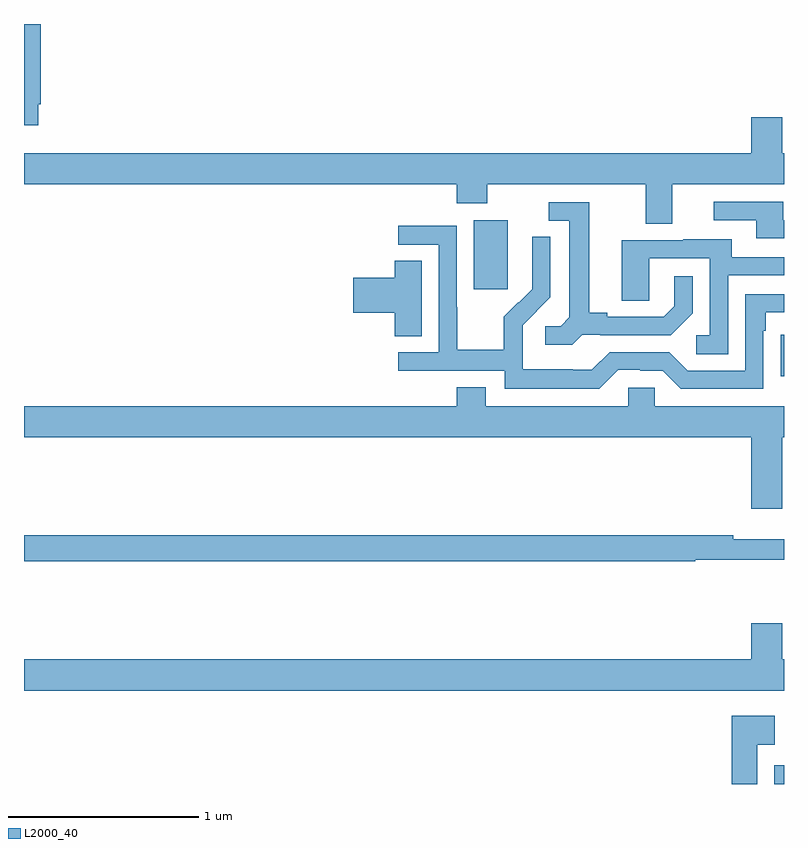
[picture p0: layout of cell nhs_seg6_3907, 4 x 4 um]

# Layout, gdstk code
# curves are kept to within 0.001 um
import gdstk
lib = gdstk.Library(unit=1e-6, precision=1e-09)
def R(c, l, rs):  # rectangles x0, y0, x1, y1
    for r in rs: c.add(gdstk.rectangle(r[:2], r[2:], *l))
def P(c, l, *ps):  # polygons
    for p in ps: c.add(gdstk.Polygon(p, *l))
L2000_40 = (2000, 40)

nhs_seg6_3907 = lib.new_cell('nhs_seg6_3907')
R(nhs_seg6_3907, L2000_40, [(344.948,957.5,345,957.598), (344.983,959.646,345,959.864), (343.367,960.105,343.546,960.466)])
P(nhs_seg6_3907, L2000_40, [(341.074,961.078),(341.087,961.078),(341.087,961.5),(341,961.5),(341,960.966),(341.074,960.966)],
  [(344.413,960.656),(345,960.656),(345,960.82),(344.992,960.82),(344.992,961.009),(344.828,961.009),(344.828,960.82),(341,960.82),(341,960.656),(343.277,960.656),(343.277,960.557),(343.437,960.557),(343.437,960.656),(344.273,960.656),(344.273,960.448),(344.413,960.448)],
  [(345,960.468),(344.995,960.468),(344.995,960.564),(344.631,960.564),(344.631,960.468),(344.855,960.468),(344.855,960.372),(345,960.372)],
  [(343.938,959.865),(344.032,959.865),(344.032,959.862),(344.404,959.862),(344.52,959.978),(344.52,960.172),(344.423,960.172),(344.423,960.015),(344.366,959.958),(344.071,959.958),(344.071,959.981),(343.975,959.981),(343.975,960.561),(343.761,960.561),(343.761,960.465),(343.871,960.465),(343.871,959.957),(343.824,959.91),(343.743,959.91),(343.743,959.813),(343.886,959.813)],
  [(344.127,959.679),(344.243,959.679),(344.243,959.676),(344.361,959.676),(344.457,959.58),(344.892,959.58),(344.892,959.885),(344.905,959.885),(344.905,959.982),(345,959.982),(345,960.078),(344.796,960.078),(344.796,959.676),(344.493,959.676),(344.397,959.772),(344.082,959.772),(343.989,959.679),(343.889,959.679),(343.889,959.683),(343.626,959.683),(343.626,959.817),(343.624,959.817),(343.624,959.914),(343.77,960.062),(343.77,960.38),(343.674,960.38),(343.674,960.226),(343.676,960.226),(343.676,960.104),(343.605,960.033),(343.602,960.036),(343.525,959.959),(343.525,959.785),(343.281,959.785),(343.281,960.008),(343.278,960.008),(343.278,960.438),(342.969,960.438),(342.969,960.339),(343.182,960.339),(343.182,959.772),(342.969,959.772),(342.969,959.676),(343.53,959.676),(343.53,959.579),(344.027,959.579)],
  [(344.706,960.177),(345,960.177),(345,960.273),(344.725,960.273),(344.725,960.367),(344.471,960.367),(344.471,960.363),(344.147,960.363),(344.147,960.043),(344.292,960.043),(344.292,960.267),(344.61,960.267),(344.61,959.862),(344.538,959.862),(344.538,959.761),(344.706,959.761)],
  [(343.093,960.254),(342.95,960.254),(342.95,960.164),(342.732,960.164),(342.732,959.981),(342.95,959.981),(342.95,959.857),(343.093,959.857)],
  [(344.992,959.324),(345,959.324),(345,959.488),(344.319,959.488),(344.319,959.586),(344.181,959.586),(344.181,959.488),(343.429,959.488),(343.429,959.587),(343.277,959.587),(343.277,959.488),(341,959.488),(341,959.324),(344.828,959.324),(344.828,958.95),(344.992,958.95)],
  [(344.533,958.68),(345,958.68),(345,958.789),(344.732,958.789),(344.732,958.808),(341,958.808),(341,958.672),(344.533,958.672)],
  [(345,958.156),(344.992,958.156),(344.992,958.345),(344.828,958.345),(344.828,958.156),(341,958.156),(341,957.992),(345,957.992)],
  [(344.86,957.707),(344.95,957.707),(344.95,957.859),(344.726,957.859),(344.726,957.5),(344.86,957.5)])

lib.write_gds('nhs_seg6_3907.gds')
